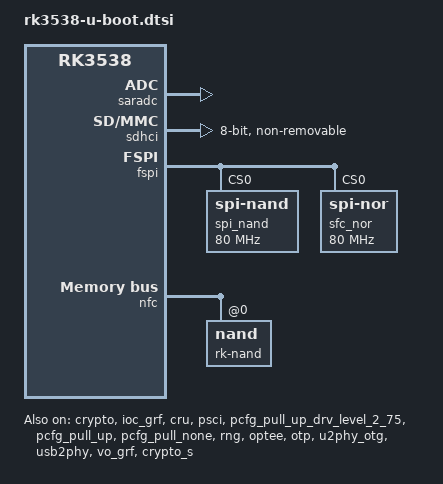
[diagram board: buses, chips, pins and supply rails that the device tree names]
// SPDX-License-Identifier: (GPL-2.0+ OR MIT)
/*
 * Copyright (c) 2025 Rockchip Electronics Co., Ltd.
 */

#include <dt-bindings/input/input.h>
#include "rockchip-u-boot.dtsi"

/ {
	aliases {
		mmc0 = &sdhci;
		mmc1 = &sdmmc0;
	};

	chosen {
		u-boot,spl-boot-order = &sdhci, &spi_nand, &spi_nor, &nfc;
	};

	dmc {
		compatible = "rockchip,rk3538-dmc";
		bootph-all;
		status = "okay";
	};

	crypto_s: crypto_s@fd940000 {
		compatible = "rockchip,crypto-ce";
		reg = <0xfd940000 0x2000>;
		secure;
		interrupts = <GIC_SPI 170 IRQ_TYPE_LEVEL_HIGH>;
		clocks = <&cru ACLK_NSRKCE>, <&cru HCLK_NS_RKCE>, <&cru CLK_PKA_NSRKCE>;
		clock-names = "aclk", "hclk", "pka";
		resets = <&cru SRST_HRESETN_NS_RKCE>;
		reset-names = "crypto-rst";
		status = "disabled";
	};
};

&crypto {
	bootph-all;
	status = "okay";
};

&crypto_s {
	bootph-all;
	status = "okay";
};

&gpio0 {
	bootph-all;
	status = "okay";
};

&gpio1 {
	bootph-all;
	status = "okay";
};

&gpio2 {
	bootph-all;
	status = "okay";
};

&gpio3 {
	bootph-all;
	status = "okay";
};

&gpio4 {
	bootph-all;
	status = "okay";
};

&ioc_grf {
	bootph-all;
	status = "okay";
};

&cru {
	bootph-all;
	status = "okay";
};

&psci {
	bootph-all;
	status = "okay";
};

&pinctrl {
	bootph-all;
	status = "okay";
};

&pcfg_pull_up_drv_level_2_75 {
	bootph-all;
	status = "okay";
};

&pcfg_pull_up {
	bootph-all;
	status = "okay";
};

&pcfg_pull_none {
	bootph-all;
	status = "okay";
};

&saradc {
	bootph-all;
	status = "okay";
};

&sdhci {
	bootph-all;
	bus-width = <8>;
	mmc-hs400-1_8v;
	mmc-hs400-enhanced-strobe;
	no-sd;
	no-sdio;
	non-removable;
	u-boot,spl-fifo-mode;
	status = "okay";
};

&fspi {
	bootph-all;
	status = "okay";

	#address-cells = <1>;
	#size-cells = <0>;
	spi_nand: flash@0 {
		bootph-all;
		compatible = "spi-nand";
		reg = <0>;
		spi-tx-bus-width = <1>;
		spi-rx-bus-width = <4>;
		spi-max-frequency = <80000000>;
	};

	spi_nor: flash@1 {
		bootph-all;
		compatible = "jedec,spi-nor";
		label = "sfc_nor";
		reg = <0>;
		spi-tx-bus-width = <1>;
		spi-rx-bus-width = <4>;
		spi-max-frequency = <80000000>;
	};
};

&nfc {
	compatible = "rockchip,rk-nandc";
	bootph-all;
	status = "okay";
	nand: nand@0 {
		bootph-all;
		reg = <0>;
		label = "rk-nand";
		nand-bus-width = <8>;
		nand-ecc-mode = "hw";
		nand-ecc-step-size = <1024>;
		nand-ecc-strength = <16>;
		nand-is-boot-medium;
		rockchip,boot-blks = <8>;
		rockchip,boot-ecc-strength = <16>;
	};
};

&rng {
	bootph-all;
	status = "okay";
};

&optee {
	bootph-all;
	status = "okay";
};

&otp {
	bootph-all;
	status = "okay";
};

&u2phy_otg {
	bootph-all;
	status = "okay";
};

&usb2phy {
	bootph-all;
	status = "okay";
};

&vo_grf {
	bootph-all;
	status = "okay";
};

&scmi {
	bootph-all;
};

&scmi_clk {
	bootph-all;
};

&scmi_shmem {
	bootph-all;
};
